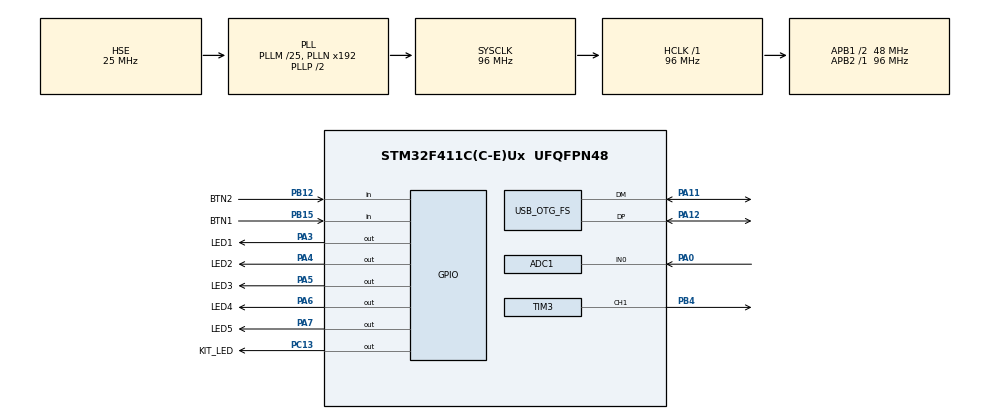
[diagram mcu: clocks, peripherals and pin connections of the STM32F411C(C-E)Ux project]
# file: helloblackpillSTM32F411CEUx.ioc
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ADC1.Channel-0\#ChannelRegularConversion=ADC_CHANNEL_0
ADC1.NbrOfConversionFlag=1
ADC1.Rank-0\#ChannelRegularConversion=1
ADC1.SamplingTime-0\#ChannelRegularConversion=ADC_SAMPLETIME_3CYCLES
ADC1.master=1
Mcu.Family=STM32F4
Mcu.Name=STM32F411C(C-E)Ux
Mcu.Package=UFQFPN48
NVIC.OTG_FS_IRQn=true\:0\:0\:false\:false\:true\:false\:true\:true
NVIC.PriorityGroup=NVIC_PRIORITYGROUP_4
NVIC.TIM4_IRQn=true\:0\:0\:false\:false\:true\:true\:true\:true
PA0-WKUP.Signal=ADCx_IN0
PA11.Mode=Device_Only
PA11.Signal=USB_OTG_FS_DM
PA12.Mode=Device_Only
PA12.Signal=USB_OTG_FS_DP
PA13.Mode=Serial_Wire
PA13.Signal=SYS_JTMS-SWDIO
PA14.Mode=Serial_Wire
PA14.Signal=SYS_JTCK-SWCLK
PA3.GPIO_Label=LED1
PA3.Signal=GPIO_Output
PA4.GPIO_Label=LED2
PA4.Signal=GPIO_Output
PA5.GPIO_Label=LED3
PA5.Signal=GPIO_Output
PA6.GPIO_Label=LED4
PA6.Signal=GPIO_Output
PA7.GPIO_Label=LED5
PA7.Signal=GPIO_Output
PB12.GPIO_Label=BTN2
PB12.Signal=GPIO_Input
PB15.GPIO_Label=BTN1
PB15.Signal=GPIO_Input
PB4.Signal=S_TIM3_CH1
PC13-ANTI_TAMP.GPIO_Label=KIT_LED
PC13-ANTI_TAMP.Signal=GPIO_Output
PC14-OSC32_IN.Mode=LSE-External-Oscillator
PC14-OSC32_IN.Signal=RCC_OSC32_IN
PC15-OSC32_OUT.Mode=LSE-External-Oscillator
PC15-OSC32_OUT.Signal=RCC_OSC32_OUT
PH0\ -\ OSC_IN.Mode=HSE-External-Oscillator
PH0\ -\ OSC_IN.Signal=RCC_OSC_IN
PH1\ -\ OSC_OUT.Mode=HSE-External-Oscillator
PH1\ -\ OSC_OUT.Signal=RCC_OSC_OUT
ProjectManager.HeapSize=0x200
ProjectManager.StackSize=0x400
ProjectManager.TargetToolchain=Makefile
RCC.48MHZClocksFreq_Value=48000000
RCC.AHBFreq_Value=96000000
RCC.APB1CLKDivider=RCC_HCLK_DIV2
RCC.APB1Freq_Value=48000000
RCC.APB1TimFreq_Value=96000000
RCC.APB2Freq_Value=96000000
RCC.APB2TimFreq_Value=96000000
RCC.CortexFreq_Value=96000000
RCC.HCLKFreq_Value=96000000
RCC.HSE_VALUE=25000000
RCC.HSI_VALUE=16000000
RCC.PLLM=25
RCC.SYSCLKFreq_VALUE=96000000
RCC.SYSCLKSource=RCC_SYSCLKSOURCE_PLLCLK
RCC.VCOOutputFreq_Value=192000000
SH.ADCx_IN0.0=ADC1_IN0,IN0
SH.S_TIM3_CH1.0=TIM3_CH1,PWM Generation1 CH1
TIM3.Channel-PWM\ Generation1\ CH1=TIM_CHANNEL_1
TIM3.Period=1250
TIM3.Prescaler=9600-1
TIM3.Pulse-PWM\ Generation1\ CH1=1250
TIM4.Period=500
TIM4.Prescaler=9600-1
USB_DEVICE.CLASS_NAME_FS=CDC
USB_DEVICE.MANUFACTURER_STRING=matnat
USB_DEVICE.PRODUCT_STRING_CDC_FS=matnat STM32 Virtual ComPort
USB_DEVICE.VirtualMode=Cdc
USB_DEVICE.VirtualModeFS=Cdc_FS
USB_OTG_FS.VirtualMode=Device_Only
VP_TIM4_VS_ClockSourceINT.Mode=Internal
VP_USB_DEVICE_VS_USB_DEVICE_CDC_FS.Mode=CDC_FS
board=custom

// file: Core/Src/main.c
/* USER CODE BEGIN Header */
/**
 ******************************************************************************
 * @file           : main.c
 * @brief          : Main program body
 ******************************************************************************
 * @attention
 *
 * Copyright (c) 2022 STMicroelectronics.
 * All rights reserved.
 *
 * This software is licensed under terms that can be found in the LICENSE file
 * in the root directory of this software component.
 * If no LICENSE file comes with this software, it is provided AS-IS.
 *
 ******************************************************************************
 */
/* USER CODE END Header */
#include "main.h"
#include "usb_device.h"

ADC_HandleTypeDef hadc1;

TIM_HandleTypeDef htim3;
TIM_HandleTypeDef htim4;

void SystemClock_Config(void);
static void MX_GPIO_Init(void);
static void MX_TIM4_Init(void);
static void MX_ADC1_Init(void);
static void MX_TIM3_Init(void);

/* USER CODE BEGIN 0 */
int16_t read[2];
int16_t gCont;
int16_t gLeds;
const int32_t min_read = 875;
const int32_t max_read = 4200;
uint8_t buffer[255];
uint32_t count = 0;
/* USER CODE END 0 */

int main(void)
{

  /* MCU Configuration--------------------------------------------------------*/

  /* Reset of all peripherals, Initializes the Flash interface and the Systick. */
  HAL_Init();

  /* Configure the system clock */
  SystemClock_Config();

  /* Initialize all configured peripherals */
  MX_GPIO_Init();
  MX_TIM4_Init();
  MX_ADC1_Init();
  MX_TIM3_Init();
  MX_USB_DEVICE_Init();
  /* USER CODE BEGIN 2 */

  HAL_TIM_PWM_Start(&htim3, TIM_CHANNEL_1);
  htim3.Instance->CCR1 = 0;
  /* USER CODE END 2 */

  /* Infinite loop */
  /* USER CODE BEGIN WHILE */
  while (1)
  {
    HAL_ADC_Start(&hadc1);
    HAL_ADC_PollForConversion(&hadc1, 100);
    read[0] = HAL_ADC_GetValue(&hadc1);
    gCont = 5 - 5 * (((float)read[0] - min_read) / ((float)max_read - (float)min_read));
    gLeds = (1 << gCont) - 1;
    HAL_GPIO_WritePin(GPIOA, 31 << 3, 0);
    HAL_GPIO_WritePin(GPIOA, gLeds << 3, 1);
    Hal_Delay(10);
    //sprintf(buffer, "Tensao no ADC %d mV\r \n", (read[0] * 3300) / 4095);
    //CDC_Transmit_FS(buffer, strlen(buffer));

    /* USER CODE BEGIN 3 */

    /* USER CODE END WHILE */

    /* USER CODE BEGIN 3 */

    /* USER CODE END WHILE */

    /* USER CODE BEGIN 3 */

    /* USER CODE END WHILE */

    /* USER CODE BEGIN 3 */

    /* USER CODE END WHILE */

    /* USER CODE BEGIN 3 */

    /* USER CODE END WHILE */

    /* USER CODE BEGIN 3 */

    /* USER CODE END WHILE */
  }
  /* USER CODE END 3 */
}

void SystemClock_Config(void)
{
  RCC_OscInitTypeDef RCC_OscInitStruct = {0};
  RCC_ClkInitTypeDef RCC_ClkInitStruct = {0};

  /** Configure the main internal regulator output voltage
  */
  __HAL_RCC_PWR_CLK_ENABLE();
  __HAL_PWR_VOLTAGESCALING_CONFIG(PWR_REGULATOR_VOLTAGE_SCALE1);

  /** Initializes the RCC Oscillators according to the specified parameters
  * in the RCC_OscInitTypeDef structure.
  */
  RCC_OscInitStruct.OscillatorType = RCC_OSCILLATORTYPE_HSE;
  RCC_OscInitStruct.HSEState = RCC_HSE_ON;
  RCC_OscInitStruct.PLL.PLLState = RCC_PLL_ON;
  RCC_OscInitStruct.PLL.PLLSource = RCC_PLLSOURCE_HSE;
  RCC_OscInitStruct.PLL.PLLM = 25;
  RCC_OscInitStruct.PLL.PLLN = 192;
  RCC_OscInitStruct.PLL.PLLP = RCC_PLLP_DIV2;
  RCC_OscInitStruct.PLL.PLLQ = 4;
  if (HAL_RCC_OscConfig(&RCC_OscInitStruct) != HAL_OK)
  {
    Error_Handler();
  }

  /** Initializes the CPU, AHB and APB buses clocks
  */
  RCC_ClkInitStruct.ClockType = RCC_CLOCKTYPE_HCLK|RCC_CLOCKTYPE_SYSCLK
                              |RCC_CLOCKTYPE_PCLK1|RCC_CLOCKTYPE_PCLK2;
  RCC_ClkInitStruct.SYSCLKSource = RCC_SYSCLKSOURCE_PLLCLK;
  RCC_ClkInitStruct.AHBCLKDivider = RCC_SYSCLK_DIV1;
  RCC_ClkInitStruct.APB1CLKDivider = RCC_HCLK_DIV2;
  RCC_ClkInitStruct.APB2CLKDivider = RCC_HCLK_DIV1;

  if (HAL_RCC_ClockConfig(&RCC_ClkInitStruct, FLASH_LATENCY_3) != HAL_OK)
  {
    Error_Handler();
  }
}

static void MX_ADC1_Init(void)
{

  ADC_ChannelConfTypeDef sConfig = {0};

  /** Configure the global features of the ADC (Clock, Resolution, Data Alignment and number of conversion)
  */
  hadc1.Instance = ADC1;
  hadc1.Init.ClockPrescaler = ADC_CLOCK_SYNC_PCLK_DIV4;
  hadc1.Init.Resolution = ADC_RESOLUTION_12B;
  hadc1.Init.ScanConvMode = DISABLE;
  hadc1.Init.ContinuousConvMode = DISABLE;
  hadc1.Init.DiscontinuousConvMode = DISABLE;
  hadc1.Init.ExternalTrigConvEdge = ADC_EXTERNALTRIGCONVEDGE_NONE;
  hadc1.Init.ExternalTrigConv = ADC_SOFTWARE_START;
  hadc1.Init.DataAlign = ADC_DATAALIGN_RIGHT;
  hadc1.Init.NbrOfConversion = 1;
  hadc1.Init.DMAContinuousRequests = DISABLE;
  hadc1.Init.EOCSelection = ADC_EOC_SINGLE_CONV;
  if (HAL_ADC_Init(&hadc1) != HAL_OK)
  {
    Error_Handler();
  }

  /** Configure for the selected ADC regular channel its corresponding rank in the sequencer and its sample time.
  */
  sConfig.Channel = ADC_CHANNEL_0;
  sConfig.Rank = 1;
  sConfig.SamplingTime = ADC_SAMPLETIME_3CYCLES;
  if (HAL_ADC_ConfigChannel(&hadc1, &sConfig) != HAL_OK)
  {
    Error_Handler();
  }

}

static void MX_TIM3_Init(void)
{

  TIM_MasterConfigTypeDef sMasterConfig = {0};
  TIM_OC_InitTypeDef sConfigOC = {0};

  htim3.Instance = TIM3;
  htim3.Init.Prescaler = 9600-1;
  htim3.Init.CounterMode = TIM_COUNTERMODE_UP;
  htim3.Init.Period = 1250;
  htim3.Init.ClockDivision = TIM_CLOCKDIVISION_DIV1;
  htim3.Init.AutoReloadPreload = TIM_AUTORELOAD_PRELOAD_DISABLE;
  if (HAL_TIM_PWM_Init(&htim3) != HAL_OK)
  {
    Error_Handler();
  }
  sMasterConfig.MasterOutputTrigger = TIM_TRGO_RESET;
  sMasterConfig.MasterSlaveMode = TIM_MASTERSLAVEMODE_DISABLE;
  if (HAL_TIMEx_MasterConfigSynchronization(&htim3, &sMasterConfig) != HAL_OK)
  {
    Error_Handler();
  }
  sConfigOC.OCMode = TIM_OCMODE_PWM1;
  sConfigOC.Pulse = 1250;
  sConfigOC.OCPolarity = TIM_OCPOLARITY_HIGH;
  sConfigOC.OCFastMode = TIM_OCFAST_DISABLE;
  if (HAL_TIM_PWM_ConfigChannel(&htim3, &sConfigOC, TIM_CHANNEL_1) != HAL_OK)
  {
    Error_Handler();
  }
  HAL_TIM_MspPostInit(&htim3);

}

static void MX_TIM4_Init(void)
{

  TIM_ClockConfigTypeDef sClockSourceConfig = {0};
  TIM_MasterConfigTypeDef sMasterConfig = {0};

  htim4.Instance = TIM4;
  htim4.Init.Prescaler = 9600-1;
  htim4.Init.CounterMode = TIM_COUNTERMODE_UP;
  htim4.Init.Period = 500;
  htim4.Init.ClockDivision = TIM_CLOCKDIVISION_DIV1;
  htim4.Init.AutoReloadPreload = TIM_AUTORELOAD_PRELOAD_DISABLE;
  if (HAL_TIM_Base_Init(&htim4) != HAL_OK)
  {
    Error_Handler();
  }
  sClockSourceConfig.ClockSource = TIM_CLOCKSOURCE_INTERNAL;
  if (HAL_TIM_ConfigClockSource(&htim4, &sClockSourceConfig) != HAL_OK)
  {
    Error_Handler();
  }
  sMasterConfig.MasterOutputTrigger = TIM_TRGO_RESET;
  sMasterConfig.MasterSlaveMode = TIM_MASTERSLAVEMODE_DISABLE;
  if (HAL_TIMEx_MasterConfigSynchronization(&htim4, &sMasterConfig) != HAL_OK)
  {
    Error_Handler();
  }

}

static void MX_GPIO_Init(void)
{
  GPIO_InitTypeDef GPIO_InitStruct = {0};

  /* GPIO Ports Clock Enable */
  __HAL_RCC_GPIOC_CLK_ENABLE();
  __HAL_RCC_GPIOH_CLK_ENABLE();
  __HAL_RCC_GPIOA_CLK_ENABLE();
  __HAL_RCC_GPIOB_CLK_ENABLE();

  /*Configure GPIO pin Output Level */
  HAL_GPIO_WritePin(KIT_LED_GPIO_Port, KIT_LED_Pin, GPIO_PIN_RESET);

  /*Configure GPIO pin Output Level */
  HAL_GPIO_WritePin(GPIOA, LED1_Pin|LED2_Pin|LED3_Pin|LED4_Pin
                          |LED5_Pin, GPIO_PIN_RESET);

  /*Configure GPIO pin : KIT_LED_Pin */
  GPIO_InitStruct.Pin = KIT_LED_Pin;
  GPIO_InitStruct.Mode = GPIO_MODE_OUTPUT_PP;
  GPIO_InitStruct.Pull = GPIO_NOPULL;
  GPIO_InitStruct.Speed = GPIO_SPEED_FREQ_LOW;
  HAL_GPIO_Init(KIT_LED_GPIO_Port, &GPIO_InitStruct);

  /*Configure GPIO pins : LED1_Pin LED2_Pin LED3_Pin LED4_Pin
                           LED5_Pin */
  GPIO_InitStruct.Pin = LED1_Pin|LED2_Pin|LED3_Pin|LED4_Pin
                          |LED5_Pin;
  GPIO_InitStruct.Mode = GPIO_MODE_OUTPUT_PP;
  GPIO_InitStruct.Pull = GPIO_NOPULL;
  GPIO_InitStruct.Speed = GPIO_SPEED_FREQ_LOW;
  HAL_GPIO_Init(GPIOA, &GPIO_InitStruct);

  /*Configure GPIO pins : BTN2_Pin BTN1_Pin */
  GPIO_InitStruct.Pin = BTN2_Pin|BTN1_Pin;
  GPIO_InitStruct.Mode = GPIO_MODE_INPUT;
  GPIO_InitStruct.Pull = GPIO_NOPULL;
  HAL_GPIO_Init(GPIOB, &GPIO_InitStruct);

}

/* USER CODE BEGIN 4 */
void HAL_TIM_PeriodElapsedCallback(TIM_HandleTypeDef *htim)
{
}

/* USER CODE END 4 */

void Error_Handler(void)
{
  __disable_irq();
  while (1)
  {
  }
}
